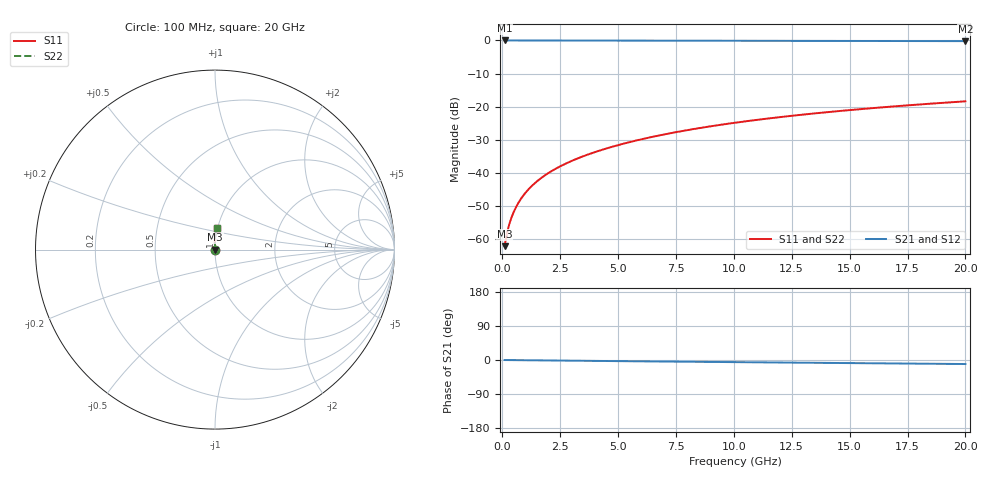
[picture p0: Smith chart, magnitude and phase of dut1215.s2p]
! Touchstone file exported from HFSS 2024.1.0
!  File:  C:/UserFiles/LocalFiles/RDL_TSV_Batchsim/temp_RDL_bottom_1215_1780243867.aedt
!  Generated:  12:13:30 AM Jun  1, 2026
!  Design:  RDL_bottom
!  Project:  temp_RDL_bottom_1215_1780243867
!  Setup:  Setup1
!  Solution:  Sweep
! Variables:
!  dtsv = 10.80580581um
!  hbump = 3um
!  htsv = 80.38um
!  ldown = 114.21um
!  lrdl = 100um
!  p = 40
!  p1 = 57.26um
!  rhole = 1um
!  t = 450um
!  tdown = 4.04um
!  trdl = 3.915915916um
!  wdown = 27.84um
!  wrdl = 20um
# GHz S MA R 50.000000
! Terminal data exported
! Port[1] = RDL1_T1
! Port[2] = RDL1_T2
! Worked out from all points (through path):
!   200 points, 100 MHz to 20 GHz, reference 50 ohm
!   highest |S21| = -0.01 dB at 100 MHz (marker M1); lowest = -0.2 dB at 20 GHz (marker M2)
!   group delay of S21, straight-line fit = 1.45 ps
!   lowest |S11| = -62.0 dB at 100 MHz (marker M3), VSWR 1.00, Z = 50.1 + j0.0546 ohm
!   |S11| at or under -10 dB: start of sweep to end of sweep
!   |S22| runs from -62.0 to -18.4 dB; largest |S21 - S12| = 4.3e-15
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0.1  0.0007929 43.4  0.9994 -0.1  0.9994 -0.1  0.0007929 43.4
! Gamma 0 0 0 0
! Port Impedance 50 0 50 0
0.2  0.001226 60.3  0.9994 -0.1  0.9994 -0.1  0.001226 60.3
0.3  0.001688 68.0  0.9993 -0.2  0.9993 -0.2  0.001688 68.0
0.4  0.002156 72.6  0.9993 -0.3  0.9993 -0.3  0.002156 72.6
0.5  0.002628 75.7  0.9993 -0.3  0.9993 -0.3  0.002628 75.7
0.6  0.003106 77.9  0.9992 -0.4  0.9992 -0.4  0.003106 77.9
0.8  0.004072 81.1  0.9991 -0.5  0.9991 -0.5  0.004072 81.1
1.1  0.005544 84.0  0.999 -0.7  0.999 -0.7  0.005544 84.0
1.5  0.007537 86.3  0.9988 -0.9  0.9988 -0.9  0.007537 86.3
1.8  0.009053 87.5  0.9986 -1.1  0.9986 -1.1  0.009053 87.5
2.1  0.01059 88.4  0.9983 -1.3  0.9983 -1.3  0.01059 88.4
2.7  0.01371 89.8  0.9977 -1.7  0.9977 -1.7  0.01371 89.8
3.5  0.018 91.0  0.9968 -2.1  0.9968 -2.1  0.018 91.0
4.2  0.02187 91.7  0.9959 -2.5  0.9959 -2.5  0.02187 91.7
5  0.02643 92.1  0.9948 -3.0  0.9948 -3.0  0.02643 92.1
5.9  0.03172 92.3  0.9935 -3.5  0.9935 -3.5  0.03172 92.3
6.8  0.03714 92.3  0.9922 -4.0  0.9922 -4.0  0.03714 92.3
8.4  0.04705 91.9  0.9899 -4.8  0.9899 -4.8  0.04705 91.9
10.1  0.0578 91.0  0.9877 -5.7  0.9877 -5.7  0.0578 91.0
13.4  0.07894 89.0  0.9836 -7.4  0.9836 -7.4  0.07894 89.0
16.7  0.1 86.7  0.9799 -9.0  0.9799 -9.0  0.1 86.7
20  0.1209 84.5  0.9762 -10.6  0.9762 -10.6  0.1209 84.5
